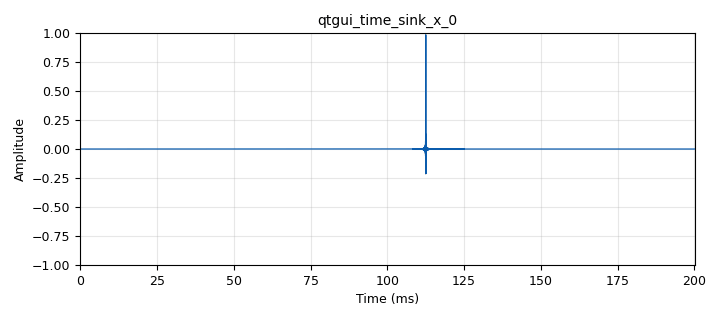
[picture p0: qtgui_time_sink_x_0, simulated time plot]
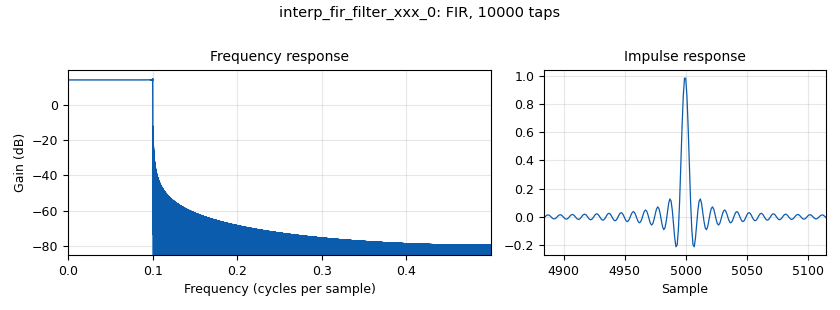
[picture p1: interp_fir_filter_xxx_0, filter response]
options:
  parameters:
    generate_options: qt_gui
    id: sinc
    output_language: python
    title: Not titled yet
  states: {}

blocks:
- name: a
  id: variable
  parameters:
    value: '10000'
  states: {}
- name: samp_rate
  id: variable
  parameters:
    value: '400000'
  states: {}
- name: analog_random_source_x_0
  id: analog_random_source_x
  parameters:
    max: '8'
    min: '0'
    num_samps: '100000'
    repeat: 'True'
    type: int
  states: {state: disabled}
- name: blocks_throttle_0
  id: blocks_throttle
  parameters:
    samples_per_second: samp_rate/4
    type: float
  states: {}
- name: blocks_vector_source_x_0
  id: blocks_vector_source_x
  parameters:
    repeat: 'True'
    type: float
    vector: '[0]*a+[1]+[0]*a'
  states: {}
- name: digital_chunks_to_symbols_xx_0
  id: digital_chunks_to_symbols_xx
  parameters:
    dimension: '1'
    in_type: int
    out_type: float
    symbol_table: np.arange(-4,4)
  states: {state: disabled}
- name: import_0
  id: import
  parameters:
    imports: import numpy as np
  states: {}
- name: interp_fir_filter_xxx_0
  id: interp_fir_filter_xxx
  parameters:
    interp: '4'
    taps: np.sinc(np.linspace(-1000,1000,a))
    type: fff
  states: {}
- name: qtgui_freq_sink_x_0
  id: qtgui_freq_sink_x
  parameters:
    average: '0.05'
    bw: samp_rate
    fc: '0'
    fftsize: '4096'
    type: float
    wintype: firdes.WIN_RECTANGULAR
  states: {}
- name: qtgui_time_sink_x_0
  id: qtgui_time_sink_x
  parameters:
    size: (2*a+1)*4
    srate: samp_rate
    type: float
  states: {}

connections:
- [analog_random_source_x_0, '0', digital_chunks_to_symbols_xx_0, '0']
- [blocks_throttle_0, '0', interp_fir_filter_xxx_0, '0']
- [blocks_vector_source_x_0, '0', blocks_throttle_0, '0']
- [digital_chunks_to_symbols_xx_0, '0', blocks_throttle_0, '0']
- [interp_fir_filter_xxx_0, '0', qtgui_freq_sink_x_0, '0']
- [interp_fir_filter_xxx_0, '0', qtgui_time_sink_x_0, '0']

metadata:
  file_format: 1
